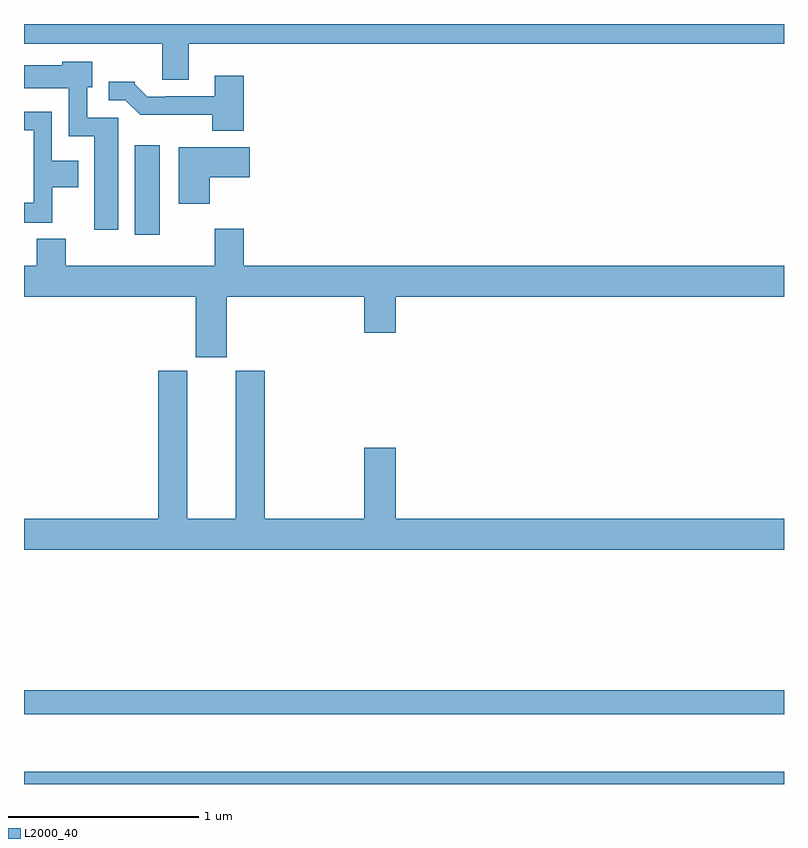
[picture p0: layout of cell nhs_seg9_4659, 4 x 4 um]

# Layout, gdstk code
import gdstk
lib = gdstk.Library(unit=1e-6, precision=1e-09)
def R(c, l, rs):  # rectangles x0, y0, x1, y1
    for r in rs: c.add(gdstk.rectangle(r[:2], r[2:], *l))
def P(c, l, *ps):  # polygons
    for p in ps: c.add(gdstk.Polygon(p, *l))
L2000_40 = (2000, 40)

nhs_seg9_4659 = lib.new_cell('nhs_seg9_4659')
R(nhs_seg9_4659, L2000_40, [(379,1216.5,383,1216.564), (379,1216.866,383,1216.994), (379.583,1219.392,379.714,1219.861)])
P(nhs_seg9_4659, L2000_40, [(379.867,1220.396),(383,1220.396),(383,1220.5),(379,1220.5),(379,1220.396),(379.727,1220.396),(379.727,1220.206),(379.867,1220.206)],
  [(379.495,1220.007),(379.332,1220.007),(379.332,1220.166),(379.36,1220.166),(379.36,1220.302),(379.2,1220.302),(379.2,1220.284),(379,1220.284),(379,1220.162),(379.236,1220.162),(379.236,1219.91),(379.37,1219.91),(379.37,1219.416),(379.495,1219.416)],
  [(380.156,1220.227),(380.003,1220.227),(380.003,1220.121),(379.747,1220.121),(379.747,1220.118),(379.648,1220.118),(379.584,1220.182),(379.584,1220.197),(379.445,1220.197),(379.445,1220.1),(379.533,1220.1),(379.612,1220.022),(379.991,1220.022),(379.991,1219.937),(380.156,1219.937)],
  [(379.149,1219.64),(379.285,1219.64),(379.285,1219.78),(379.146,1219.78),(379.146,1220.037),(379,1220.037),(379,1219.941),(379.05,1219.941),(379.05,1219.558),(379,1219.558),(379,1219.454),(379.149,1219.454)],
  [(379.978,1219.694),(380.188,1219.694),(380.188,1219.852),(379.814,1219.852),(379.814,1219.554),(379.978,1219.554)],
  [(380.068,1219.064),(380.792,1219.064),(380.792,1218.876),(380.956,1218.876),(380.956,1219.064),(383,1219.064),(383,1219.228),(380.156,1219.228),(380.156,1219.423),(380.003,1219.423),(380.003,1219.228),(379.22,1219.228),(379.22,1219.369),(379.067,1219.369),(379.067,1219.228),(379,1219.228),(379,1219.064),(379.904,1219.064),(379.904,1218.747),(380.068,1218.747)],
  [(383,1217.896),(380.956,1217.896),(380.956,1218.271),(380.792,1218.271),(380.792,1217.896),(380.267,1217.896),(380.267,1218.675),(380.114,1218.675),(380.114,1217.896),(379.858,1217.896),(379.858,1218.675),(379.706,1218.675),(379.706,1217.896),(379,1217.896),(379,1217.732),(383,1217.732)])

lib.write_gds('nhs_seg9_4659.gds')
